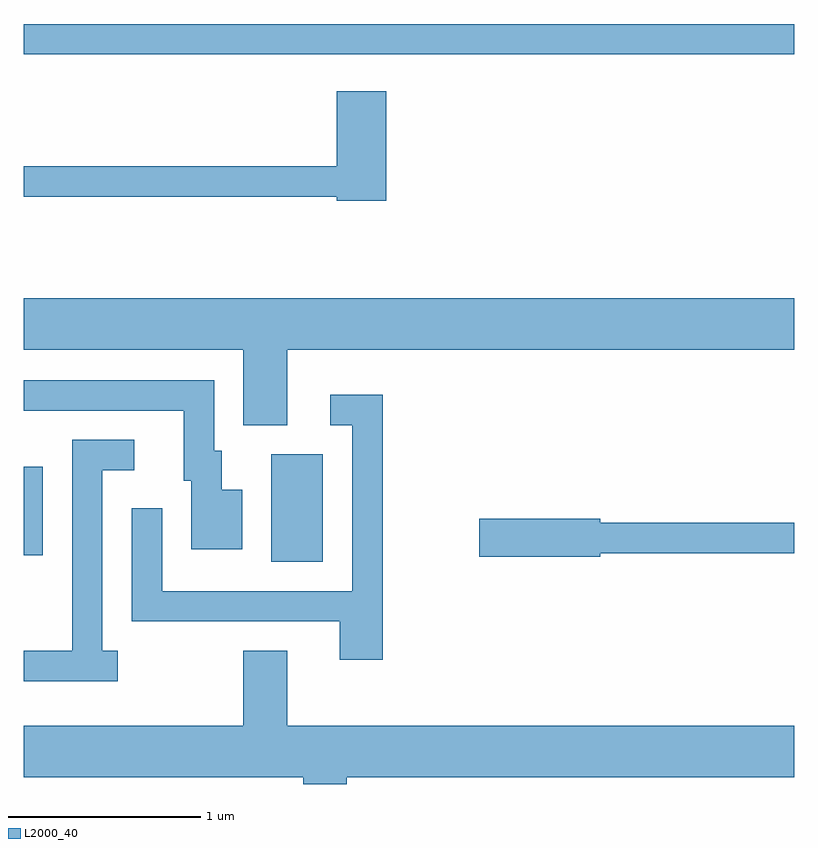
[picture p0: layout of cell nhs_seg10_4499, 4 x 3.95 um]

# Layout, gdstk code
import gdstk
lib = gdstk.Library(unit=1e-6, precision=1e-09)
def R(c, l, rs):  # rectangles x0, y0, x1, y1
    for r in rs: c.add(gdstk.rectangle(r[:2], r[2:], *l))
def P(c, l, *ps):  # polygons
    for p in ps: c.add(gdstk.Polygon(p, *l))
L2000_40 = (2000, 40)

nhs_seg10_4499 = lib.new_cell('nhs_seg10_4499')
R(nhs_seg10_4499, L2000_40, [(318.896,2141.676,319.164,2142.234), (317.611,2141.711,317.709,2142.169), (317.611,2144.311,321.611,2144.469)])
P(nhs_seg10_4499, L2000_40, [(319.494,2144.119),(319.236,2144.119),(319.236,2143.729),(317.611,2143.729),(317.611,2143.571),(319.236,2143.571),(319.236,2143.551),(319.494,2143.551)],
  [(318.979,2142.776),(321.611,2142.776),(321.611,2143.044),(317.611,2143.044),(317.611,2142.776),(318.751,2142.776),(318.751,2142.386),(318.979,2142.386)],
  [(318.744,2142.049),(318.639,2142.049),(318.639,2142.254),(318.599,2142.254),(318.599,2142.619),(317.611,2142.619),(317.611,2142.461),(318.441,2142.461),(318.441,2142.096),(318.481,2142.096),(318.481,2141.741),(318.744,2141.741)],
  [(319.474,2142.544),(319.203,2142.544),(319.203,2142.386),(319.316,2142.386),(319.316,2141.524),(318.329,2141.524),(318.329,2141.953),(318.171,2141.953),(318.171,2141.366),(319.251,2141.366),(319.251,2141.166),(319.474,2141.166)],
  [(318.098,2141.214),(318.019,2141.214),(318.019,2142.151),(318.183,2142.151),(318.183,2142.309),(317.861,2142.309),(317.861,2141.214),(317.611,2141.214),(317.611,2141.056),(318.098,2141.056)],
  [(320.604,2141.721),(321.611,2141.721),(321.611,2141.879),(320.604,2141.879),(320.604,2141.899),(319.976,2141.899),(319.976,2141.701),(320.604,2141.701)],
  [(319.289,2140.556),(321.611,2140.556),(321.611,2140.824),(318.979,2140.824),(318.979,2141.214),(318.751,2141.214),(318.751,2140.824),(317.611,2140.824),(317.611,2140.556),(319.061,2140.556),(319.061,2140.522),(319.289,2140.522)])

lib.write_gds('nhs_seg10_4499.gds')
